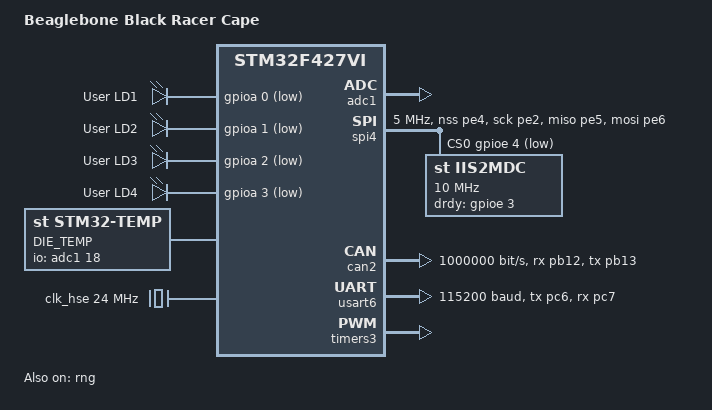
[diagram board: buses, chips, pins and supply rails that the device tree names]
/*
 * Copyright (c) 2021 Ruixiang Du
 *
 * SPDX-License-Identifier: Apache-2.0
 */

/dts-v1/;
#include <st/f4/stm32f427vi.dtsi>
#include <st/f4/stm32f427v(g-i)tx-pinctrl.dtsi>

/ {
	model = "Beaglebone Black Racer Cape";
	compatible = "st";

	chosen {
		zephyr,console = &usart6;
		zephyr,shell-uart = &usart6;
		zephyr,sram = &sram0;
		zephyr,flash = &flash0;
		zephyr,ccm = &ccm0;
        zephyr,can-primary = &can2;
		zephyr,code-partition = &slot0_partition;
	};

	leds {
		compatible = "gpio-leds";
		blue_led_1: led_1 {
			gpios = <&gpioa 0 GPIO_ACTIVE_LOW>;
			label = "User LD1";
		};
		red_led_1: led_2 {
			gpios = <&gpioa 1 GPIO_ACTIVE_LOW>;
			label = "User LD2";
		};
        blue_led_2: led_3 {
			gpios = <&gpioa 2 GPIO_ACTIVE_LOW>;
			label = "User LD3";
		};
		red_led_2: led_4 {
			gpios = <&gpioa 3 GPIO_ACTIVE_LOW>;
			label = "User LD4";
		};
	};

    stm-temp {
		label = "DIE_TEMP";
		compatible = "st,stm32-temp";
		io-channels = <&adc1 18>;
		status = "okay";
	};

	aliases {
		led0 = &blue_led_1;
		led1 = &red_led_1;
        led2 = &blue_led_2;
		led3 = &red_led_2;
        ctrlpwm = &pwm3;
	};
};

&clk_hse {
	hse-bypass;
	clock-frequency = <DT_FREQ_M(24)>; 
	status = "okay";
};

&pll {
	div-m = <12>;
	mul-n = <168>;
	div-p = <2>;
	div-q = <3>;
	clocks = <&clk_hse>;
	status = "okay";
};

&rcc {
	clocks = <&pll>;
	clock-frequency = <DT_FREQ_M(168)>; /* highest value to get a precise USB clock */
	ahb-prescaler = <1>;
	apb1-prescaler = <4>;
	apb2-prescaler = <2>;
};

&adc1 {
	status = "okay";
};

// &dac1 {
// 	status = "okay";
// 	pinctrl-0 = <&dac_out1_pa4>;
// };

// &i2c1 {
// 	pinctrl-0 = <&i2c1_scl_pb8 &i2c1_sda_pb9>;
// 	status = "okay";
// 	clock-frequency = <I2C_BITRATE_FAST>;
// };

&spi4 {	
    pinctrl-0 = <&spi4_nss_pe4 &spi4_sck_pe2 &spi4_miso_pe5 &spi4_mosi_pe6>;
    status = "okay";
    clock-frequency = <5000000>;
    cs-gpios = <&gpioe 4 GPIO_ACTIVE_LOW>;
	mag_iis2mdc:iis2mdc@0 {
		compatible = "st,iis2mdc";
		reg = <0>;
		label = "IIS2MDC";
        spi-max-frequency = <10000000>;
		drdy-gpios = <&gpioe 3 GPIO_ACTIVE_HIGH>;
	};
};

// &can1 {
// 	bus-speed = <1000000>;
//     pinctrl-0 = <&can1_rx_pa11 &can1_tx_pa12>;
// 	sjw = <1>;
// 	prop-seg = <0>;
// 	phase-seg1 = <11>;
// 	phase-seg2 = <2>;
// 	status = "okay";
// };

&can2 {
	bus-speed = <1000000>;
    pinctrl-0 = <&can2_rx_pb12 &can2_tx_pb13>;
	sjw = <1>;
	prop-seg = <0>;
	phase-seg1 = <11>;
	phase-seg2 = <2>;
	status = "okay";
};

// &usart3 {
// 	pinctrl-0 = <&usart3_tx_pd8 &usart3_rx_pd9>;
// 	current-speed = <115200>;
// 	status = "okay";
// };

&usart6 {
	pinctrl-0 = <&usart6_tx_pc6 &usart6_rx_pc7>;
	current-speed = <115200>;
	status = "okay";
};

// &usbotg_fs {
// 	pinctrl-0 = <&usb_otg_fs_dm_pa11 &usb_otg_fs_dp_pa12>;
// 	status = "okay";
// };

// &timers1 {
// 	status = "okay";

// 	pwm1: pwm {
// 		status = "okay";
// 		pinctrl-0 = <&tim1_ch1_pe9 &tim1_ch2_pe11 &tim1_ch3_pe13 &tim1_ch4_pe14>;
//     };
// };

&timers3 {
	status = "okay";

	pwm3: pwm {
		status = "okay";
		pinctrl-0 = <&tim3_ch3_pb0 &tim3_ch4_pb1>;
	};
};

// &rtc {
// 	status = "okay";
// };

// &iwdg {
// 	status = "okay";
// };

&rng {
	status = "okay";
};

// &mac {
// 	status = "okay";
// 	pinctrl-0 = <&eth_mdc_pc1
// 		     &eth_rxd0_pc4
// 		     &eth_rxd1_pc5
// 		     &eth_ref_clk_pa1
// 		     &eth_mdio_pa2
// 		     &eth_crs_dv_pa7
// 		     &eth_tx_en_pg11
// 		     &eth_txd0_pg13
// 		     &eth_txd1_pb13>;
// };

&flash0 {
	/*
	 * For more information, see:
	 * https://docs.zephyrproject.org/latest/reference/devicetree/index.html#fixed-flash-partitions
	 */
	partitions {
		compatible = "fixed-partitions";
		#address-cells = <1>;
		#size-cells = <1>;

		/* 64KB for bootloader */
		boot_partition: partition@0 {
			label = "mcuboot";
			reg = <0x00000000 0x00010000>;
			read-only;
		};

		/* storage: 64KB for settings */
		storage_partition: partition@10000 {
			label = "storage";
			reg = <0x00010000 0x00010000>;
		};

		/* application image slot: 256KB */
		slot0_partition: partition@20000 {
			label = "image-0";
			reg = <0x00020000 0x00040000>;
		};

		/* backup slot: 256KB */
		slot1_partition: partition@60000 {
			label = "image-1";
			reg = <0x00060000 0x00040000>;
		};

		/* swap slot: 128KB */
		scratch_partition: partition@a0000 {
			label = "image-scratch";
			reg = <0x000a0000 0x00020000>;
		};

	};
};
